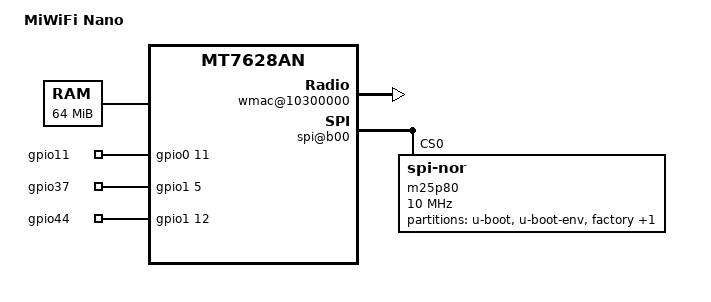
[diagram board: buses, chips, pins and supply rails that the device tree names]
/dts-v1/;

/include/ "mt7628an.dtsi"

/ {
	compatible = "xiaomi,MiWifi Nano", "mediatek,mt7628an-soc";
	model = "MiWiFi Nano";

	chosen {
		bootargs = "console=ttyS0,115200";
	};

	memory@0 {
		device_type = "memory";
		reg = <0x0 0x4000000>;
	};

	pinctrl {
		state_default: pinctrl0 {
			gpio {
				ralink,group = "gpio";
				ralink,function = "gpio";
			};
		};
	};

	gpio-export {
		compatible = "gpio-export";
		#size-cells = <0>;

		gpio11 {
			/* blue led */
			gpio-export,name = "gpio11";
			gpio-export,direction_may_change = <1>;
			gpio-export,output = <1>;
			gpios = <&gpio0 11 0>;
		};

		gpio37 {
			/* red led */
			gpio-export,name = "gpio37";
			gpio-export,direction_may_change = <1>;
			gpio-export,output = <1>;
			gpios = <&gpio1 5 0>;
		};

		gpio44 {
			/* yellow led */
			gpio-export,name = "gpio44";
			gpio-export,direction_may_change = <1>;
			gpio-export,output = <1>;
			gpios = <&gpio1 12 0>;
		};
	};


	wmac@10300000 {
		status = "okay";
	};

	palmbus@10000000 {
		spi@b00 {
			status = "okay";

			m25p80@0 {
				#address-cells = <1>;
				#size-cells = <1>;
				compatible = "jedec,spi-nor";
				reg = <0 0>;
				linux,modalias = "m25p80";
				spi-max-frequency = <10000000>;
				m25p,chunked-io = <32>;

				partition@0 {
					label = "u-boot";
					reg = <0x0 0x30000>;
					read-only;
				};

				partition@30000 {
					label = "u-boot-env";
					reg = <0x30000 0x10000>;
					read-only;
				};

				factory: partition@40000 {
					label = "factory";
					reg = <0x40000 0x10000>;
					read-only;
				};

				partition@50000 {
					label = "firmware";
					reg = <0x50000 0x7b0000>;
				};
			};
		};
	};
};
